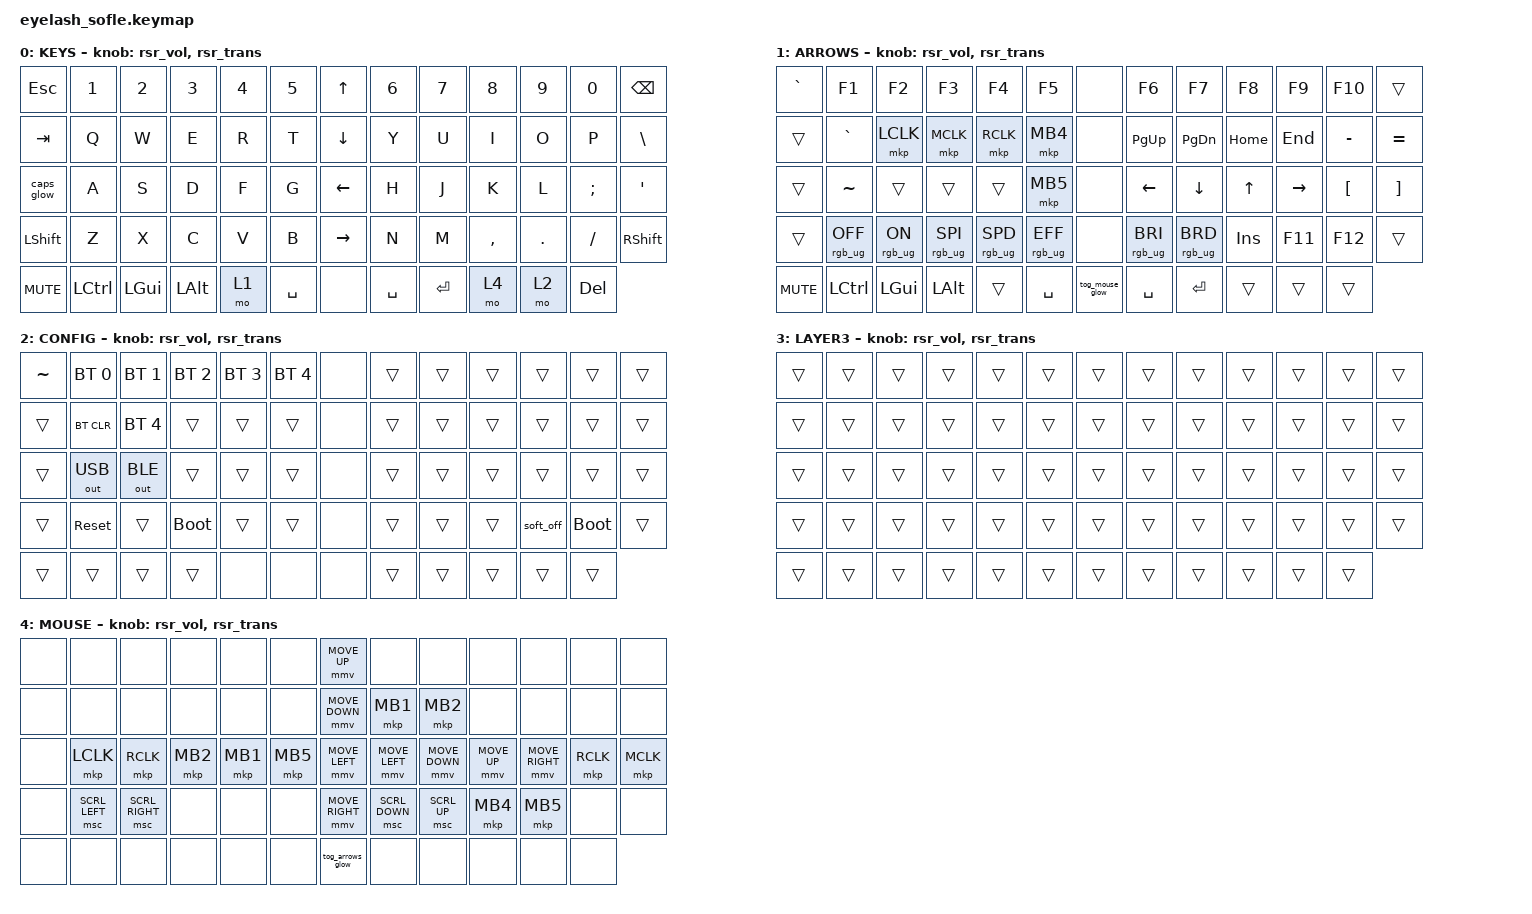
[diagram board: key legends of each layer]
#define ZMK_POINTING_DEFAULT_MOVE_VAL 1200  // 600
#define ZMK_POINTING_DEFAULT_SCRL_VAL 25   // 10

#include <input/processors.dtsi>
#include <zephyr/dt-bindings/input/input-event-codes.h>
#include <behaviors.dtsi>
#include <behaviors/runtime-sensor-rotate.dtsi>
#include <dt-bindings/zmk/bt.h>
#include <dt-bindings/zmk/keys.h>
#include <dt-bindings/zmk/outputs.h>
#include <dt-bindings/zmk/pointing.h>
#include <dt-bindings/zmk/rgb.h>

&mmv_input_listener { input-processors = <&zip_xy_scaler 2 1>; };

&msc_input_listener { input-processors = <&zip_scroll_scaler 2 1>; };

&msc {
    acceleration-exponent = <1>;      // 0
    time-to-max-speed-ms = <100>;       // 300
    delay-ms = <0>;                   // 0
};

&mmv {
    time-to-max-speed-ms = <400>;
    acceleration-exponent = <1>;
    trigger-period-ms = <16>;
};

&soft_off { hold-time-ms = <2000>; };

/ {
    scroll_encoder: scroll_encoder {
        compatible = "zmk,behavior-sensor-rotate";
        #sensor-binding-cells = <0>;
        bindings = <&msc SCRL_DOWN>, <&msc SCRL_UP>;

        tap-ms = <100>;
    };

    behaviors {
        rsr_vol: rsr_vol {
            compatible = "zmk,behavior-runtime-sensor-rotate";
            #sensor-binding-cells = <0>;
            tap-ms = <5>;
            cw-binding = <&kp C_VOL_UP>;
            ccw-binding = <&kp C_VOL_DN>;
        };

        rsr_trans: rsr_trans {
            compatible = "zmk,behavior-runtime-sensor-rotate";
            #sensor-binding-cells = <0>;
            tap-ms = <0>;
        };
    };

    combos {
        compatible = "zmk,combos";

        softoff {
            bindings = <&soft_off>;
            key-positions = <14 28 40>;
        };
    };

    macros {
        SHIFT_MCLK: SHIFT_MCLK {
            compatible = "zmk,behavior-macro";
            #binding-cells = <0>;
            bindings =
                <&macro_press>,
                <&kp LEFT_SHIFT>,
                <&macro_press>,
                <&mkp MB3>,
                <&macro_pause_for_release>,
                <&macro_release>,
                <&kp LEFT_SHIFT &mkp MB3>;

            label = "SHIFT_MCLK";
        };

        tog_arrows_glow: tog_arrows_glow {
            compatible = "zmk,behavior-macro";
            #binding-cells = <0>;
            bindings = <&rgb_ug RGB_TOG>, <&tog 1>;
            label = "TOG_ARROWS_GLOW";
        };

        tog_mouse_glow: tog_mouse_glow {
            compatible = "zmk,behavior-macro";
            #binding-cells = <0>;
            bindings = <&rgb_ug RGB_OFF>, <&tog 1>;
            label = "TOG_MOUSE_GLOW";
        };

        caps_glow: caps_glow {
            compatible = "zmk,behavior-macro";
            #binding-cells = <0>;
            bindings = <&rgb_ug RGB_TOG>, <&kp CAPS>;
            label = "CAPS_GLOW";
        };
    };

    keymap {
        compatible = "zmk,keymap";

        keys {
            bindings = <
                &kp ESC    &kp N1    &kp N2       &kp N3       &kp N4 &kp N5    &kp UP_ARROW    &kp N6    &kp N7    &kp N8    &kp N9  &kp N0     &kp BACKSPACE
                &kp TAB    &kp Q     &kp W        &kp E        &kp R  &kp T     &kp DOWN_ARROW  &kp Y     &kp U     &kp I     &kp O   &kp P      &kp BSLH
                &caps_glow &kp A     &kp S        &kp D        &kp F  &kp G     &kp LEFT_ARROW  &kp H     &kp J     &kp K     &kp L   &kp SEMI   &kp APOS
                &kp LSHFT  &kp Z     &kp X        &kp C        &kp V  &kp B     &kp RIGHT_ARROW &kp N     &kp M     &kp COMMA &kp DOT &kp FSLH   &kp RSHFT
                &kp C_MUTE &kp LCTRL &kp LEFT_GUI &kp LEFT_ALT &mo 1  &kp SPACE &none           &kp SPACE &kp ENTER &mo 4     &mo 2   &kp DELETE
            >;
            sensor-bindings = <&rsr_vol &rsr_trans>;
            display-name = "KEYS";
        };

        arrows {
            bindings = <
                &kp GRAVE  &kp F1          &kp F2         &kp F3          &kp F4          &kp F5          &none           &kp F6          &kp F7          &kp F8       &kp F9          &kp F10          &trans
                &trans     &kp GRAVE       &mkp LCLK      &mkp MCLK       &mkp RCLK       &mkp MB4        &none           &kp PG_UP       &kp PG_DN       &kp HOME     &kp END         &kp MINUS        &kp EQUAL
                &trans     &kp TILDE       &trans         &trans          &trans          &mkp MB5        &none           &kp LEFT_ARROW  &kp DOWN_ARROW  &kp UP_ARROW &kp RIGHT_ARROW &kp LEFT_BRACKET &kp RIGHT_BRACKET
                &trans     &rgb_ug RGB_OFF &rgb_ug RGB_ON &rgb_ug RGB_SPI &rgb_ug RGB_SPD &rgb_ug RGB_EFF &none           &rgb_ug RGB_BRI &rgb_ug RGB_BRD &kp INSERT   &kp F11         &kp F12          &trans
                &kp C_MUTE &kp LCTRL       &kp LEFT_GUI   &kp LEFT_ALT    &trans          &kp SPACE       &tog_mouse_glow &kp SPACE       &kp ENTER       &trans       &trans          &trans
            >;
            sensor-bindings = <&rsr_vol &rsr_trans>;
            display-name = "ARROWS";
        };

        config {
            bindings = <
                &kp TILDE &bt BT_SEL 0 &bt BT_SEL 1 &bt BT_SEL 2 &bt BT_SEL 3 &bt BT_SEL 4 &none &trans &trans &trans &trans    &trans      &trans
                &trans    &bt BT_CLR   &bt BT_SEL 4 &trans       &trans       &trans       &none &trans &trans &trans &trans    &trans      &trans
                &trans    &out OUT_USB &out OUT_BLE &trans       &trans       &trans       &none &trans &trans &trans &trans    &trans      &trans
                &trans    &sys_reset   &trans       &bootloader  &trans       &trans       &none &trans &trans &trans &soft_off &bootloader &trans
                &trans    &trans       &trans       &trans       &none        &none        &none &trans &trans &trans &trans    &trans
            >;
            display-name = "CONFIG";
            sensor-bindings = <&rsr_vol &rsr_trans>;
        };

        layer_3 {
            bindings = <
                &trans &trans &trans &trans &trans &trans &trans &trans &trans &trans &trans &trans &trans
                &trans &trans &trans &trans &trans &trans &trans &trans &trans &trans &trans &trans &trans
                &trans &trans &trans &trans &trans &trans &trans &trans &trans &trans &trans &trans &trans
                &trans &trans &trans &trans &trans &trans &trans &trans &trans &trans &trans &trans &trans
                &trans &trans &trans &trans &trans &trans &trans &trans &trans &trans &trans &trans
            >;

            display-name = "LAYER3";
            sensor-bindings = <&rsr_vol &rsr_trans>;
        };

        mouse {
            bindings = <
                &none &none          &none           &none    &none    &none    &mmv MOVE_UP     &none          &none          &none        &none           &none     &none
                &none &none          &none           &none    &none    &none    &mmv MOVE_DOWN   &mkp MB1       &mkp MB2       &none        &none           &none     &none
                &none &mkp LCLK      &mkp RCLK       &mkp MB2 &mkp MB1 &mkp MB5 &mmv MOVE_LEFT   &mmv MOVE_LEFT &mmv MOVE_DOWN &mmv MOVE_UP &mmv MOVE_RIGHT &mkp RCLK &mkp MCLK
                &none &msc SCRL_LEFT &msc SCRL_RIGHT &none    &none    &none    &mmv MOVE_RIGHT  &msc SCRL_DOWN &msc SCRL_UP   &mkp MB4     &mkp MB5        &none     &none
                &none &none          &none           &none    &none    &none    &tog_arrows_glow &none          &none          &none        &none           &none
            >;

            display-name = "MOUSE";
            sensor-bindings = <&rsr_vol &rsr_trans>;
        };

    };
};
